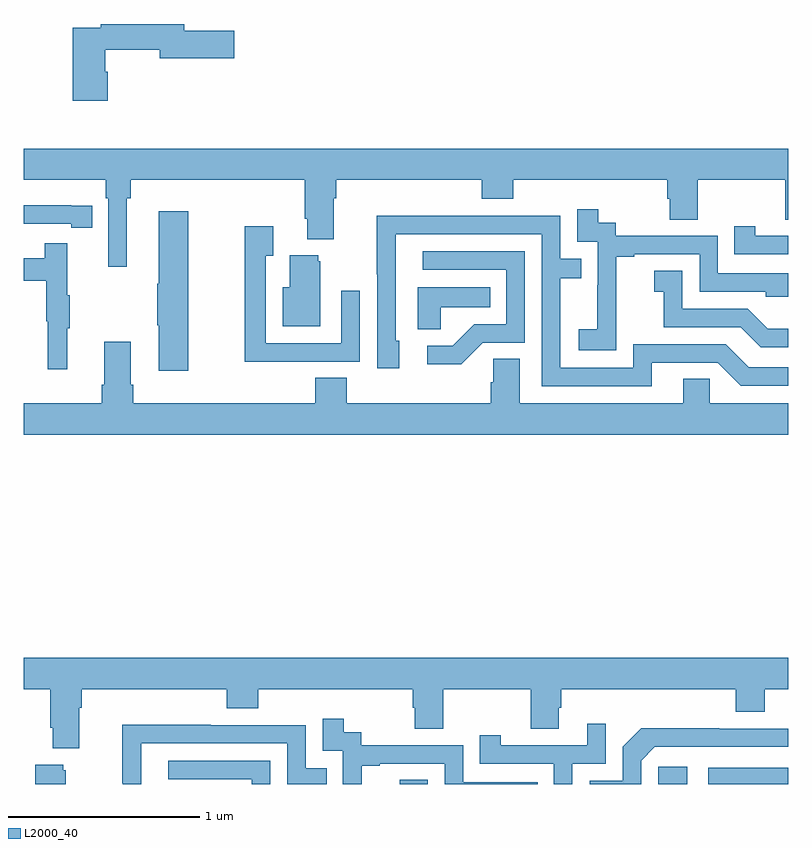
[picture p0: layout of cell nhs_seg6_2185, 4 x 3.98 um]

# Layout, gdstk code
import gdstk
lib = gdstk.Library(unit=1e-6, precision=1e-09)
def R(c, l, rs):  # rectangles x0, y0, x1, y1
    for r in rs: c.add(gdstk.rectangle(r[:2], r[2:], *l))
def P(c, l, *ps):  # polygons
    for p in ps: c.add(gdstk.Polygon(p, *l))
L2000_40 = (2000, 40)

nhs_seg6_2185 = lib.new_cell('nhs_seg6_2185')
R(nhs_seg6_2185, L2000_40, [(242.967,953.5,243.114,953.521), (244.32,953.5,244.471,953.59), (244.581,953.5,245,953.586)])
P(nhs_seg6_2185, L2000_40, [(241.439,957.225),(241.426,957.225),(241.426,957.34),(241.712,957.34),(241.712,957.298),(242.101,957.298),(242.101,957.44),(241.84,957.44),(241.84,957.476),(241.402,957.476),(241.402,957.456),(241.256,957.456),(241.256,957.075),(241.439,957.075)],
  [(241,956.66),(241.43,956.66),(241.43,956.564),(241.443,956.564),(241.443,956.205),(241.54,956.205),(241.54,956.564),(241.559,956.564),(241.559,956.66),(242.471,956.66),(242.471,956.458),(242.483,956.458),(242.483,956.351),(242.623,956.351),(242.623,956.564),(242.636,956.564),(242.636,956.66),(243.395,956.66),(243.395,956.561),(243.56,956.561),(243.56,956.66),(244.367,956.66),(244.367,956.562),(244.379,956.562),(244.379,956.452),(244.527,956.452),(244.527,956.66),(244.984,956.66),(244.984,956.452),(245,956.452),(245,956.824),(241,956.824)],
  [(241.358,956.526),(241.25,956.526),(241.25,956.527),(241,956.527),(241,956.43),(241.25,956.43),(241.25,956.41),(241.358,956.41)],
  [(244.101,955.975),(244.1,955.975),(244.1,956.259),(244.195,956.259),(244.195,956.271),(244.536,956.271),(244.536,956.076),(244.881,956.076),(244.881,956.049),(245,956.049),(245,956.172),(244.632,956.172),(244.632,956.367),(244.098,956.367),(244.098,956.436),(244.006,956.436),(244.006,956.506),(243.897,956.506),(243.897,956.337),(244.002,956.337),(244.002,956.108),(244.001,956.108),(244.001,955.879),(243.903,955.879),(243.903,955.769),(244.101,955.769)],
  [(241.86,956.497),(241.706,956.497),(241.706,956.117),(241.699,956.117),(241.699,955.9),(241.706,955.9),(241.706,955.662),(241.86,955.662)],
  [(244.285,955.704),(244.632,955.704),(244.752,955.584),(245,955.584),(245,955.68),(244.794,955.68),(244.674,955.8),(244.188,955.8),(244.188,955.677),(243.807,955.677),(243.807,956.146),(243.917,956.146),(243.917,956.247),(243.807,956.247),(243.807,956.472),(243.311,956.472),(243.311,956.474),(242.848,956.474),(242.848,956.167),(242.85,956.167),(242.85,955.674),(242.965,955.674),(242.965,955.818),(242.946,955.818),(242.946,956.376),(243.711,956.376),(243.711,955.581),(244.285,955.581)],
  [(245,956.367),(244.828,956.367),(244.828,956.419),(244.717,956.419),(244.717,956.271),(245,956.271)],
  [(242.441,955.71),(242.757,955.71),(242.757,956.08),(242.661,956.08),(242.661,955.806),(242.265,955.806),(242.265,956.263),(242.305,956.263),(242.305,956.419),(242.157,956.419),(242.157,955.709),(242.441,955.709)],
  [(241.229,955.883),(241.24,955.883),(241.24,956.057),(241.229,956.057),(241.229,956.329),(241.111,956.329),(241.111,956.25),(241,956.25),(241,956.134),(241.119,956.134),(241.119,955.92),(241.126,955.92),(241.126,955.671),(241.229,955.671)],
  [(243.402,955.809),(243.621,955.809),(243.621,956.286),(243.087,956.286),(243.087,956.19),(243.525,956.19),(243.525,955.905),(243.356,955.905),(243.245,955.794),(243.111,955.794),(243.111,955.697),(243.289,955.697)],
  [(242.551,956.235),(242.54,956.235),(242.54,956.266),(242.393,956.266),(242.393,956.098),(242.354,956.098),(242.354,955.895),(242.551,955.895)],
  [(245,955.882),(244.892,955.882),(244.788,955.986),(244.446,955.986),(244.446,956.185),(244.299,956.185),(244.299,956.075),(244.348,956.075),(244.348,955.89),(244.751,955.89),(244.856,955.785),(245,955.785)],
  [(243.183,955.994),(243.44,955.994),(243.44,956.098),(243.062,956.098),(243.062,955.879),(243.183,955.879)],
  [(245,955.492),(244.59,955.492),(244.59,955.619),(244.451,955.619),(244.451,955.492),(243.595,955.492),(243.595,955.724),(243.456,955.724),(243.456,955.601),(243.443,955.601),(243.443,955.492),(242.69,955.492),(242.69,955.625),(242.525,955.625),(242.525,955.492),(241.574,955.492),(241.574,955.588),(241.561,955.588),(241.561,955.813),(241.421,955.813),(241.421,955.588),(241.409,955.588),(241.409,955.492),(241,955.492),(241,955.328),(245,955.328)],
  [(241.291,953.9),(241.304,953.9),(241.304,953.996),(242.063,953.996),(242.063,953.897),(242.228,953.897),(242.228,953.996),(243.035,953.996),(243.035,953.898),(243.047,953.898),(243.047,953.788),(243.195,953.788),(243.195,953.996),(243.652,953.996),(243.652,953.788),(243.799,953.788),(243.799,953.898),(243.812,953.898),(243.812,953.996),(244.724,953.996),(244.724,953.879),(244.876,953.879),(244.876,953.996),(245,953.996),(245,954.16),(241,954.16),(241,953.996),(241.139,953.996),(241.139,953.794),(241.151,953.794),(241.151,953.687),(241.291,953.687)],
  [(242.768,953.595),(242.863,953.595),(242.863,953.607),(243.204,953.607),(243.204,953.5),(243.689,953.5),(243.689,953.508),(243.3,953.508),(243.3,953.703),(242.766,953.703),(242.766,953.772),(242.674,953.772),(242.674,953.842),(242.565,953.842),(242.565,953.673),(242.67,953.673),(242.67,953.5),(242.768,953.5)],
  [(243.87,953.607),(244.044,953.607),(244.044,953.815),(243.947,953.815),(243.947,953.703),(243.496,953.703),(243.496,953.755),(243.385,953.755),(243.385,953.607),(243.774,953.607),(243.774,953.5),(243.87,953.5)],
  [(241.614,953.712),(242.379,953.712),(242.379,953.5),(242.585,953.5),(242.585,953.583),(242.475,953.583),(242.475,953.808),(241.979,953.808),(241.979,953.81),(241.516,953.81),(241.516,953.503),(241.518,953.503),(241.518,953.5),(241.614,953.5)],
  [(244.23,953.622),(244.302,953.694),(245,953.694),(245,953.79),(244.64,953.79),(244.64,953.792),(244.232,953.792),(244.134,953.694),(244.134,953.517),(243.96,953.517),(243.96,953.5),(244.23,953.5)],
  [(242.289,953.622),(241.755,953.622),(241.755,953.526),(242.193,953.526),(242.193,953.5),(242.289,953.5)],
  [(241.219,953.571),(241.208,953.571),(241.208,953.602),(241.061,953.602),(241.061,953.5),(241.219,953.5)])

lib.write_gds('nhs_seg6_2185.gds')
